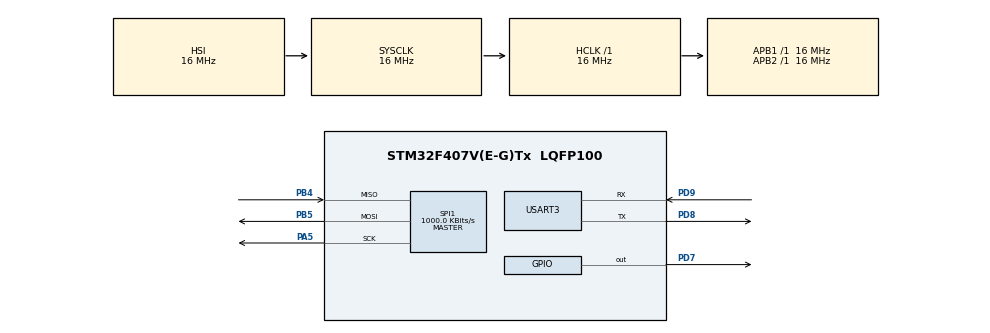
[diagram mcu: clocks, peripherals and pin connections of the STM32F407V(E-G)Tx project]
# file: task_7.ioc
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Mcu.Family=STM32F4
Mcu.Name=STM32F407V(E-G)Tx
Mcu.Package=LQFP100
NVIC.PriorityGroup=NVIC_PRIORITYGROUP_4
PA5.Mode=Full_Duplex_Master
PA5.Signal=SPI1_SCK
PB4.Mode=Full_Duplex_Master
PB4.Signal=SPI1_MISO
PB5.Mode=Full_Duplex_Master
PB5.Signal=SPI1_MOSI
PD7.Signal=GPIO_Output
PD8.Mode=Asynchronous
PD8.Signal=USART3_TX
PD9.Mode=Asynchronous
PD9.Signal=USART3_RX
ProjectManager.HeapSize=0x200
ProjectManager.StackSize=0x400
ProjectManager.TargetToolchain=STM32CubeIDE
RCC.AHBFreq_Value=16000000
RCC.APB1Freq_Value=16000000
RCC.APB2Freq_Value=16000000
RCC.CortexFreq_Value=16000000
RCC.HSE_VALUE=25000000
RCC.HSI_VALUE=16000000
RCC.LSE_VALUE=32768
RCC.SYSCLKFreq_VALUE=16000000
RCC.VCOOutputFreq_Value=192000000
SPI1.BaudRatePrescaler=SPI_BAUDRATEPRESCALER_16
SPI1.CalculateBaudRate=1000.0 KBits/s
SPI1.Direction=SPI_DIRECTION_2LINES
SPI1.Mode=SPI_MODE_MASTER
SPI1.VirtualType=VM_MASTER
USART3.VirtualMode=VM_ASYNC
board=custom

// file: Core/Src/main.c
/* USER CODE BEGIN Header */
/**
  ******************************************************************************
  * @file           : main.c
  * @brief          : Main program body
  ******************************************************************************
  * @attention
  *
  * Copyright (c) 2023 STMicroelectronics.
  * All rights reserved.
  *
  * This software is licensed under terms that can be found in the LICENSE file
  * in the root directory of this software component.
  * If no LICENSE file comes with this software, it is provided AS-IS.
  *
  ******************************************************************************
  */
/* USER CODE END Header */
#include "main.h"

/* USER CODE BEGIN Includes */
#include "UsrSrc/flash_spi.h"
#include <string.h>
/* USER CODE END Includes */

SPI_HandleTypeDef hspi1;

UART_HandleTypeDef huart3;

void SystemClock_Config(void);
static void MX_GPIO_Init(void);
static void MX_SPI1_Init(void);
static void MX_USART3_UART_Init(void);

int main(void)
{

  /* MCU Configuration--------------------------------------------------------*/

  /* Reset of all peripherals, Initializes the Flash interface and the Systick. */
  HAL_Init();

  /* Configure the system clock */
  SystemClock_Config();

  /* Initialize all configured peripherals */
  MX_GPIO_Init();
  MX_SPI1_Init();
  MX_USART3_UART_Init();

  /* Infinite loop */
  /* USER CODE BEGIN WHILE */

  	// Init the SM and set values
  	VNO_SPI_Flash_Init(&hspi1);

  	// Prepare the flash
  	VNO_SPI_Flash_MemUnlock();
	VNO_SPI_Flash_WriteEnable();
	VNO_SPI_Flash_Erase();

	// Prepare the data
	const char *data[] = {
		"From: Daniel Horhul, daniel.horhul@gmail.com\n",
		"Mentor: Daniil Ruban, daniil.ruban@globallogic.com\n",
		"Date: 29.03.2023\n",
		"TIME CAPSULE\n",
		"Judgement Bird (O-02-62) - also know as \"Long Bird\"\n",
		"before Observation level 2 - is a tall bird\n",
		"Abnormality with long, skinny limbs and a crooked neck.\n",
		"His spherical body is covered with black feathers,\n",
		"along with his arms and wings. His head is covered by\n",
		"bandages and he has 2 small white wings with red tips\n",
		"on both sides of his head. Balanced on his neck is a\n",
		"golden scale, always tipping to the right with one\n",
		"scale larger than the other.\n"
	};

	// Write in pages
	for (uint32_t l = 0; l < sizeof(data) / sizeof(data[0]); l++) {
		for (uint32_t c = 0; c < strlen(data[l]); c++) {
			VNO_SPI_Flash_WriteEnable();
			VNO_SPI_Flash_WriteByte(data[l][c], (l * 4096) + c);
		}
	}

	// Stop writing to flash
	VNO_SPI_Flash_WriteDisable();
	VNO_SPI_Flash_MemLock();

	HAL_Delay(1000);

	// Prepare the receive buffer
	uint8_t buff[56];
	uint8_t index;

	// Read each page to buffer
	for (uint32_t line = 0; line < sizeof(data) / sizeof(data[0]); line++) {

		// Read pages into the buffer
		VNO_SPI_Flash_Read(buff, 56, (line * 4096), 56);

		// Fill the blanks at the end with spaces
		index = (uint8_t)(strchr((char*)buff, '\n') - (char*)buff);
		memset(buff + index, ' ', 56 - index - 1);
		buff[55] = '\n';

		// Push the buffer through UART
		HAL_UART_Transmit(&huart3, buff, 56, 10);
	}

  while (1)
  {

    /* USER CODE END WHILE */

  }
}

void SystemClock_Config(void)
{
  RCC_OscInitTypeDef RCC_OscInitStruct = {0};
  RCC_ClkInitTypeDef RCC_ClkInitStruct = {0};

  /** Configure the main internal regulator output voltage
  */
  __HAL_RCC_PWR_CLK_ENABLE();
  __HAL_PWR_VOLTAGESCALING_CONFIG(PWR_REGULATOR_VOLTAGE_SCALE1);

  /** Initializes the RCC Oscillators according to the specified parameters
  * in the RCC_OscInitTypeDef structure.
  */
  RCC_OscInitStruct.OscillatorType = RCC_OSCILLATORTYPE_HSI;
  RCC_OscInitStruct.HSIState = RCC_HSI_ON;
  RCC_OscInitStruct.HSICalibrationValue = RCC_HSICALIBRATION_DEFAULT;
  RCC_OscInitStruct.PLL.PLLState = RCC_PLL_NONE;
  if (HAL_RCC_OscConfig(&RCC_OscInitStruct) != HAL_OK)
  {
    Error_Handler();
  }

  /** Initializes the CPU, AHB and APB buses clocks
  */
  RCC_ClkInitStruct.ClockType = RCC_CLOCKTYPE_HCLK|RCC_CLOCKTYPE_SYSCLK
                              |RCC_CLOCKTYPE_PCLK1|RCC_CLOCKTYPE_PCLK2;
  RCC_ClkInitStruct.SYSCLKSource = RCC_SYSCLKSOURCE_HSI;
  RCC_ClkInitStruct.AHBCLKDivider = RCC_SYSCLK_DIV1;
  RCC_ClkInitStruct.APB1CLKDivider = RCC_HCLK_DIV1;
  RCC_ClkInitStruct.APB2CLKDivider = RCC_HCLK_DIV1;

  if (HAL_RCC_ClockConfig(&RCC_ClkInitStruct, FLASH_LATENCY_0) != HAL_OK)
  {
    Error_Handler();
  }
}

static void MX_SPI1_Init(void)
{

  /* SPI1 parameter configuration*/
  hspi1.Instance = SPI1;
  hspi1.Init.Mode = SPI_MODE_MASTER;
  hspi1.Init.Direction = SPI_DIRECTION_2LINES;
  hspi1.Init.DataSize = SPI_DATASIZE_8BIT;
  hspi1.Init.CLKPolarity = SPI_POLARITY_LOW;
  hspi1.Init.CLKPhase = SPI_PHASE_1EDGE;
  hspi1.Init.NSS = SPI_NSS_SOFT;
  hspi1.Init.BaudRatePrescaler = SPI_BAUDRATEPRESCALER_16;
  hspi1.Init.FirstBit = SPI_FIRSTBIT_MSB;
  hspi1.Init.TIMode = SPI_TIMODE_DISABLE;
  hspi1.Init.CRCCalculation = SPI_CRCCALCULATION_DISABLE;
  hspi1.Init.CRCPolynomial = 10;
  if (HAL_SPI_Init(&hspi1) != HAL_OK)
  {
    Error_Handler();
  }

}

static void MX_USART3_UART_Init(void)
{

  huart3.Instance = USART3;
  huart3.Init.BaudRate = 115200;
  huart3.Init.WordLength = UART_WORDLENGTH_8B;
  huart3.Init.StopBits = UART_STOPBITS_1;
  huart3.Init.Parity = UART_PARITY_NONE;
  huart3.Init.Mode = UART_MODE_TX_RX;
  huart3.Init.HwFlowCtl = UART_HWCONTROL_NONE;
  huart3.Init.OverSampling = UART_OVERSAMPLING_16;
  if (HAL_UART_Init(&huart3) != HAL_OK)
  {
    Error_Handler();
  }

}

static void MX_GPIO_Init(void)
{
  GPIO_InitTypeDef GPIO_InitStruct = {0};

  /* GPIO Ports Clock Enable */
  __HAL_RCC_GPIOA_CLK_ENABLE();
  __HAL_RCC_GPIOD_CLK_ENABLE();
  __HAL_RCC_GPIOB_CLK_ENABLE();

  /*Configure GPIO pin Output Level */
  HAL_GPIO_WritePin(GPIOD, GPIO_PIN_7, GPIO_PIN_RESET);

  /*Configure GPIO pin : PD7 */
  GPIO_InitStruct.Pin = GPIO_PIN_7;
  GPIO_InitStruct.Mode = GPIO_MODE_OUTPUT_PP;
  GPIO_InitStruct.Pull = GPIO_NOPULL;
  GPIO_InitStruct.Speed = GPIO_SPEED_FREQ_LOW;
  HAL_GPIO_Init(GPIOD, &GPIO_InitStruct);

}

void Error_Handler(void)
{
  __disable_irq();
  while (1)
  {
  }
}
